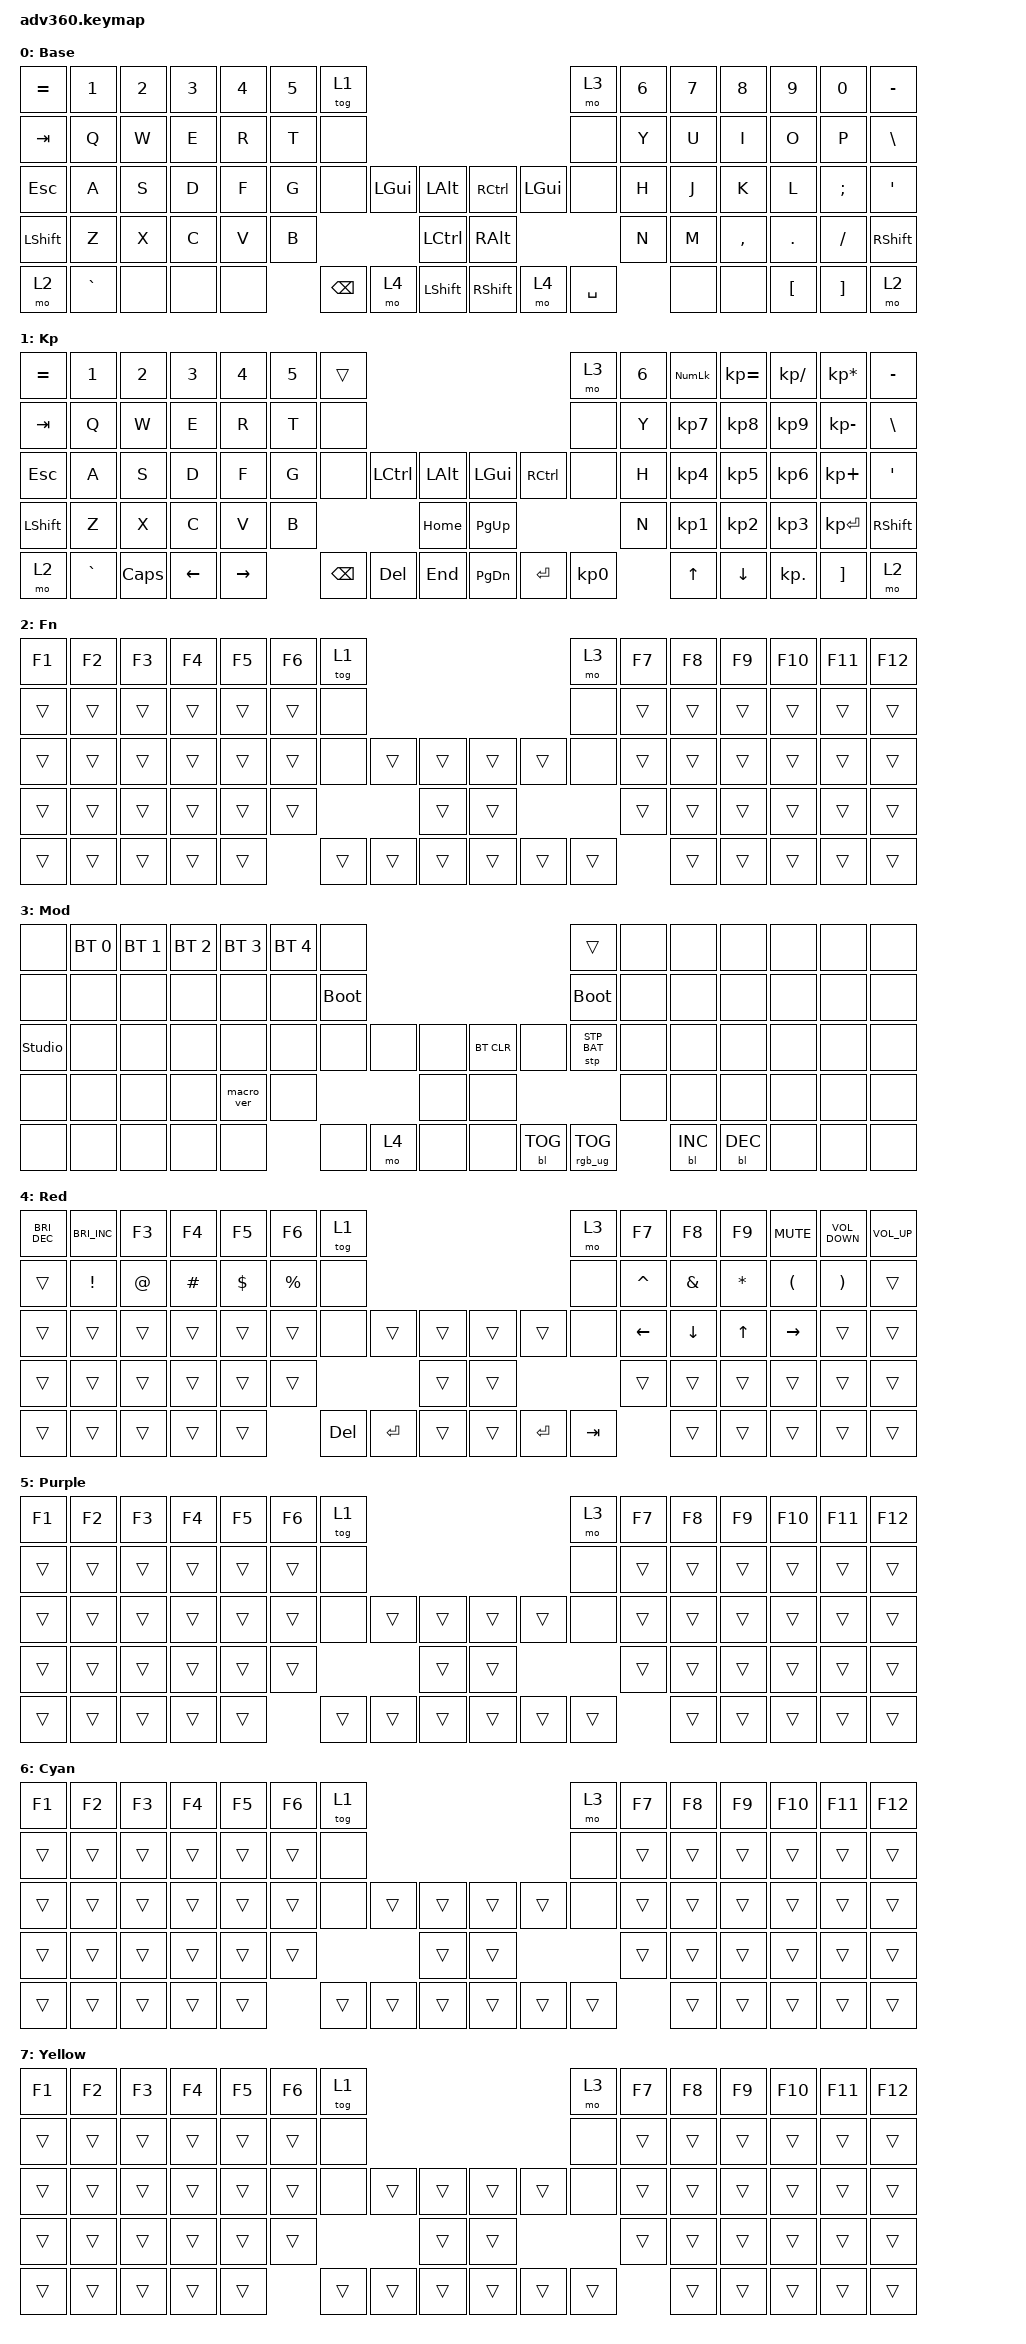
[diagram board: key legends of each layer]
#include <dt-bindings/zmk/stp.h>
#include <behaviors.dtsi>
#include <dt-bindings/zmk/backlight.h>
#include <dt-bindings/zmk/bt.h>
#include <dt-bindings/zmk/keys.h>
#include <dt-bindings/zmk/rgb.h>

/ {
    behaviors {
        #include "macros.dtsi"
      #include "version.dtsi"

        hm: homerow_mods {
            compatible = "zmk,behavior-hold-tap";
            label = "HOMEROW_MODS";
            #binding-cells = <2>;
            tapping-term-ms = <200>;
            quick-tap-ms = <175>;
            require-prior-idle-ms = <100>;
            flavor = "tap-preferred";
            bindings = <&kp>, <&kp>;
        };
    };

    combos {
        compatible = "zmk,combos";

        LANGLE {
            bindings = <&kp LT>;
            key-positions = <15 19>;
        };

        LPAREN {
            bindings = <&kp LPAR>;
            key-positions = <15 18>;
        };

        LBRACKET {
            bindings = <&kp LBKT>;
            key-positions = <15 17>;
        };

        LBRACE {
            bindings = <&kp LBRC>;
            key-positions = <15 16>;
        };

        RANGLE {
            bindings = <&kp GT>;
            key-positions = <26 22>;
        };

        RPAREN {
            bindings = <&kp RPAR>;
            key-positions = <26 23>;
        };

        RBRACKET {
            bindings = <&kp RIGHT_BRACKET>;
            key-positions = <26 24>;
        };

        RBRACE {
            bindings = <&kp RBRC>;
            key-positions = <26 25>;
        };
    };

    keymap {
        compatible = "zmk,keymap";

        default_layer {
            display-name = "Base";
            bindings = <
&kp EQUAL  &kp N1     &kp N2  &kp N3  &kp N4  &kp N5  &tog 1                                                    &mo 3      &kp N6  &kp N7  &kp N8     &kp N9    &kp N0         &kp MINUS
&kp TAB    &kp Q      &kp W   &kp E   &kp R   &kp T   &none                                                     &none      &kp Y   &kp U   &kp I      &kp O     &kp P          &kp BSLH
&kp ESC    &kp A      &kp S   &kp D   &kp F   &kp G   &none     &kp LGUI  &kp LALT        &kp RCTRL   &kp LGUI  &none      &kp H   &kp J   &kp K      &kp L     &kp SEMICOLON  &kp SQT
&kp LSHFT  &kp Z      &kp X   &kp C   &kp V   &kp B                       &kp LCTRL       &kp RALT                         &kp N   &kp M   &kp COMMA  &kp DOT   &kp FSLH       &kp RSHFT
&mo 2      &kp GRAVE  &none   &none   &none           &kp BSPC  &mo 4     &kp LSHIFT      &kp RSHIFT  &mo 4     &kp SPACE          &none   &none      &kp LBKT  &kp RBKT       &mo 2
            >;
        };

        keypad {
            display-name = "Kp";
            bindings = <
&kp EQUAL  &kp N1     &kp N2    &kp N3    &kp N4     &kp N5  &trans                                                   &mo 3      &kp N6  &kp KP_NUM  &kp KP_EQUAL  &kp KP_DIVIDE  &kp KP_MULTIPLY  &kp MINUS
&kp TAB    &kp Q      &kp W     &kp E     &kp R      &kp T   &none                                                    &none      &kp Y   &kp KP_N7   &kp KP_N8     &kp KP_N9      &kp KP_MINUS     &kp BSLH
&kp ESC    &kp A      &kp S     &kp D     &kp F      &kp G   &none     &kp LCTRL  &kp LALT      &kp LGUI   &kp RCTRL  &none      &kp H   &kp KP_N4   &kp KP_N5     &kp KP_N6      &kp KP_PLUS      &kp SQT
&kp LSHFT  &kp Z      &kp X     &kp C     &kp V      &kp B                        &kp HOME      &kp PG_UP                        &kp N   &kp KP_N1   &kp KP_N2     &kp KP_N3      &kp KP_ENTER     &kp RSHFT
&mo 2      &kp GRAVE  &kp CAPS  &kp LEFT  &kp RIGHT          &kp BSPC  &kp DEL    &kp END       &kp PG_DN  &kp ENTER  &kp KP_N0          &kp UP      &kp DOWN      &kp KP_DOT     &kp RBKT         &mo 2
            >;
        };

        fn {
            display-name = "Fn";
            bindings = <
&kp F1  &kp F2  &kp F3  &kp F4  &kp F5  &kp F6  &tog 1                                      &mo 3   &kp F7  &kp F8  &kp F9  &kp F10  &kp F11  &kp F12
&trans  &trans  &trans  &trans  &trans  &trans  &none                                       &none   &trans  &trans  &trans  &trans   &trans   &trans
&trans  &trans  &trans  &trans  &trans  &trans  &none   &trans  &trans      &trans  &trans  &none   &trans  &trans  &trans  &trans   &trans   &trans
&trans  &trans  &trans  &trans  &trans  &trans                  &trans      &trans                  &trans  &trans  &trans  &trans   &trans   &trans
&trans  &trans  &trans  &trans  &trans          &trans  &trans  &trans      &trans  &trans  &trans          &trans  &trans  &trans   &trans   &trans
            >;
        };

        mod {
            display-name = "Mod";
            bindings = <
&none           &bt BT_SEL 0  &bt BT_SEL 1  &bt BT_SEL 2  &bt BT_SEL 3  &bt BT_SEL 4  &none                                                  &trans           &none  &none       &none       &none  &none  &none
&none           &none         &none         &none         &none         &none         &bootloader                                            &bootloader      &none  &none       &none       &none  &none  &none
&studio_unlock  &none         &none         &none         &none         &none         &none        &none  &none      &bt BT_CLR  &none       &stp STP_BAT     &none  &none       &none       &none  &none  &none
&none           &none         &none         &none         &macro_ver    &none                             &none      &none                                    &none  &none       &none       &none  &none  &none
&none           &none         &none         &none         &none                       &none        &mo 4  &none      &none       &bl BL_TOG  &rgb_ug RGB_TOG         &bl BL_INC  &bl BL_DEC  &none  &none  &none
            >;
        };

        extra1 {
            display-name = "Red";
            bindings = <
&kp C_BRIGHTNESS_DEC  &kp C_BRIGHTNESS_INC  &kp F3       &kp F4    &kp F5      &kp F6       &tog 1                                             &mo 3    &kp F7     &kp F8         &kp F9        &kp C_MUTE            &kp C_VOLUME_DOWN      &kp C_VOLUME_UP
&trans                &kp EXCLAMATION       &kp AT_SIGN  &kp HASH  &kp DOLLAR  &kp PERCENT  &none                                              &none    &kp CARET  &kp AMPERSAND  &kp ASTERISK  &kp LEFT_PARENTHESIS  &kp RIGHT_PARENTHESIS  &trans
&trans                &trans                &trans       &trans    &trans      &trans       &none    &trans     &trans      &trans  &trans     &none    &kp LEFT   &kp DOWN       &kp UP        &kp RIGHT             &trans                 &trans
&trans                &trans                &trans       &trans    &trans      &trans                           &trans      &trans                      &trans     &trans         &trans        &trans                &trans                 &trans
&trans                &trans                &trans       &trans    &trans                   &kp DEL  &kp ENTER  &trans      &trans  &kp ENTER  &kp TAB             &trans         &trans        &trans                &trans                 &trans
            >;
        };

        extra2 {
            display-name = "Purple";
            bindings = <
&kp F1  &kp F2  &kp F3  &kp F4  &kp F5  &kp F6  &tog 1                                      &mo 3   &kp F7  &kp F8  &kp F9  &kp F10  &kp F11  &kp F12
&trans  &trans  &trans  &trans  &trans  &trans  &none                                       &none   &trans  &trans  &trans  &trans   &trans   &trans
&trans  &trans  &trans  &trans  &trans  &trans  &none   &trans  &trans      &trans  &trans  &none   &trans  &trans  &trans  &trans   &trans   &trans
&trans  &trans  &trans  &trans  &trans  &trans                  &trans      &trans                  &trans  &trans  &trans  &trans   &trans   &trans
&trans  &trans  &trans  &trans  &trans          &trans  &trans  &trans      &trans  &trans  &trans          &trans  &trans  &trans   &trans   &trans
            >;
        };

        extra3 {
            display-name = "Cyan";
            bindings = <
&kp F1  &kp F2  &kp F3  &kp F4  &kp F5  &kp F6  &tog 1                                      &mo 3   &kp F7  &kp F8  &kp F9  &kp F10  &kp F11  &kp F12
&trans  &trans  &trans  &trans  &trans  &trans  &none                                       &none   &trans  &trans  &trans  &trans   &trans   &trans
&trans  &trans  &trans  &trans  &trans  &trans  &none   &trans  &trans      &trans  &trans  &none   &trans  &trans  &trans  &trans   &trans   &trans
&trans  &trans  &trans  &trans  &trans  &trans                  &trans      &trans                  &trans  &trans  &trans  &trans   &trans   &trans
&trans  &trans  &trans  &trans  &trans          &trans  &trans  &trans      &trans  &trans  &trans          &trans  &trans  &trans   &trans   &trans
            >;
        };

        extra4 {
            display-name = "Yellow";
            bindings = <
&kp F1  &kp F2  &kp F3  &kp F4  &kp F5  &kp F6  &tog 1                                      &mo 3   &kp F7  &kp F8  &kp F9  &kp F10  &kp F11  &kp F12
&trans  &trans  &trans  &trans  &trans  &trans  &none                                       &none   &trans  &trans  &trans  &trans   &trans   &trans
&trans  &trans  &trans  &trans  &trans  &trans  &none   &trans  &trans      &trans  &trans  &none   &trans  &trans  &trans  &trans   &trans   &trans
&trans  &trans  &trans  &trans  &trans  &trans                  &trans      &trans                  &trans  &trans  &trans  &trans   &trans   &trans
&trans  &trans  &trans  &trans  &trans          &trans  &trans  &trans      &trans  &trans  &trans          &trans  &trans  &trans   &trans   &trans
            >;
        };
    };
};
